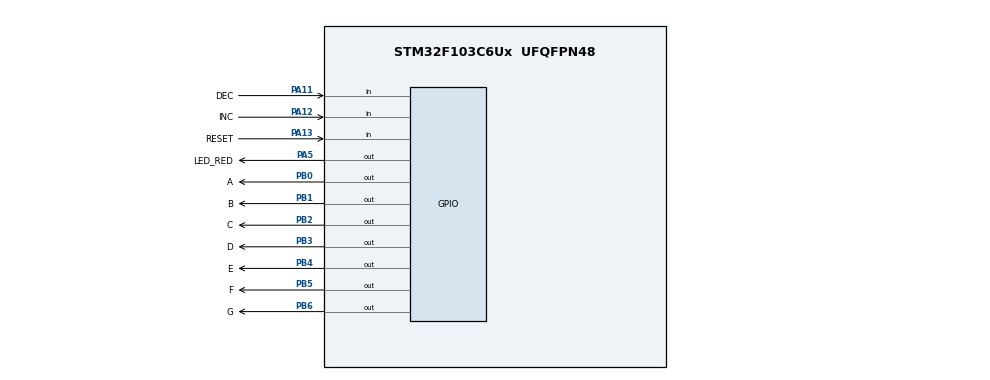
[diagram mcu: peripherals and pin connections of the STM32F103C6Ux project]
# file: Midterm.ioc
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Mcu.Family=STM32F1
Mcu.Name=STM32F103C6Ux
Mcu.Package=UFQFPN48
NVIC.PriorityGroup=NVIC_PRIORITYGROUP_4
NVIC.TIM2_IRQn=true\:0\:0\:false\:false\:true\:true\:true
PA11.GPIO_Label=DEC
PA11.GPIO_PuPd=GPIO_PULLUP
PA11.Signal=GPIO_Input
PA12.GPIO_Label=INC
PA12.GPIO_PuPd=GPIO_PULLUP
PA12.Signal=GPIO_Input
PA13.GPIO_Label=RESET
PA13.GPIO_PuPd=GPIO_PULLUP
PA13.Signal=GPIO_Input
PA5.GPIO_Label=LED_RED
PA5.Signal=GPIO_Output
PB0.GPIO_Label=A
PB0.Signal=GPIO_Output
PB1.GPIO_Label=B
PB1.Signal=GPIO_Output
PB2.GPIO_Label=C
PB2.Signal=GPIO_Output
PB3.GPIO_Label=D
PB3.Signal=GPIO_Output
PB4.GPIO_Label=E
PB4.Signal=GPIO_Output
PB5.GPIO_Label=F
PB5.Signal=GPIO_Output
PB6.GPIO_Label=G
PB6.Signal=GPIO_Output
ProjectManager.HeapSize=0x200
ProjectManager.StackSize=0x400
ProjectManager.TargetToolchain=STM32CubeIDE
RCC.APB1Freq_Value=8000000
RCC.APB2Freq_Value=8000000
TIM2.Period=9
TIM2.Prescaler=7999
VP_SYS_VS_ND.Mode=No_Debug
VP_TIM2_VS_ClockSourceINT.Mode=Internal
board=custom

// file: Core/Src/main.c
/* USER CODE BEGIN Header */
/**
  ******************************************************************************
  * @file           : main.c
  * @brief          : Main program body
  ******************************************************************************
  * @attention
  *
  * <h2><center>&copy; Copyright (c) 2022 STMicroelectronics.
  * All rights reserved.</center></h2>
  *
  * This software component is licensed by ST under BSD 3-Clause license,
  * the "License"; You may not use this file except in compliance with the
  * License. You may obtain a copy of the License at:
  *                        opensource.org/licenses/BSD-3-Clause
  *
  ******************************************************************************
  */
/* USER CODE END Header */
#include "fsm.h"
#include "main.h"
#include "global.h"
#include "software_timer.h"
#include "button.h"
#include "segment.h"

TIM_HandleTypeDef htim2;

void SystemClock_Config(void);
static void MX_GPIO_Init(void);
static void MX_TIM2_Init(void);

int main(void)
{

  /* MCU Configuration--------------------------------------------------------*/

  /* Reset of all peripherals, Initializes the Flash interface and the Systick. */
  HAL_Init();

  /* Configure the system clock */
  SystemClock_Config();

  /* Initialize all configured peripherals */
  MX_GPIO_Init();
  MX_TIM2_Init();
  /* USER CODE BEGIN 2 */
  HAL_TIM_Base_Start_IT(&htim2);
  setTimer(1);
  Blink(1);
  status=AUTO;
  /* USER CODE END 2 */

  /* Infinite loop */
  /* USER CODE BEGIN WHILE */
  while (1)
  {
	  if(timer1_flag==1){
		  fsm_simple_buttons_run ();
	  }
	  if(blink_flag==1)
	  {
		  HAL_GPIO_TogglePin(GPIOA, LED_RED_Pin);
		  Blink(100);
	  }

    /* USER CODE END WHILE */

  }
}

void SystemClock_Config(void)
{
  RCC_OscInitTypeDef RCC_OscInitStruct = {0};
  RCC_ClkInitTypeDef RCC_ClkInitStruct = {0};

  /** Initializes the RCC Oscillators according to the specified parameters
  * in the RCC_OscInitTypeDef structure.
  */
  RCC_OscInitStruct.OscillatorType = RCC_OSCILLATORTYPE_HSI;
  RCC_OscInitStruct.HSIState = RCC_HSI_ON;
  RCC_OscInitStruct.HSICalibrationValue = RCC_HSICALIBRATION_DEFAULT;
  RCC_OscInitStruct.PLL.PLLState = RCC_PLL_NONE;
  if (HAL_RCC_OscConfig(&RCC_OscInitStruct) != HAL_OK)
  {
    Error_Handler();
  }
  /** Initializes the CPU, AHB and APB buses clocks
  */
  RCC_ClkInitStruct.ClockType = RCC_CLOCKTYPE_HCLK|RCC_CLOCKTYPE_SYSCLK
                              |RCC_CLOCKTYPE_PCLK1|RCC_CLOCKTYPE_PCLK2;
  RCC_ClkInitStruct.SYSCLKSource = RCC_SYSCLKSOURCE_HSI;
  RCC_ClkInitStruct.AHBCLKDivider = RCC_SYSCLK_DIV1;
  RCC_ClkInitStruct.APB1CLKDivider = RCC_HCLK_DIV1;
  RCC_ClkInitStruct.APB2CLKDivider = RCC_HCLK_DIV1;

  if (HAL_RCC_ClockConfig(&RCC_ClkInitStruct, FLASH_LATENCY_0) != HAL_OK)
  {
    Error_Handler();
  }
}

static void MX_TIM2_Init(void)
{

  TIM_ClockConfigTypeDef sClockSourceConfig = {0};
  TIM_MasterConfigTypeDef sMasterConfig = {0};

  htim2.Instance = TIM2;
  htim2.Init.Prescaler = 7999;
  htim2.Init.CounterMode = TIM_COUNTERMODE_UP;
  htim2.Init.Period = 9;
  htim2.Init.ClockDivision = TIM_CLOCKDIVISION_DIV1;
  htim2.Init.AutoReloadPreload = TIM_AUTORELOAD_PRELOAD_DISABLE;
  if (HAL_TIM_Base_Init(&htim2) != HAL_OK)
  {
    Error_Handler();
  }
  sClockSourceConfig.ClockSource = TIM_CLOCKSOURCE_INTERNAL;
  if (HAL_TIM_ConfigClockSource(&htim2, &sClockSourceConfig) != HAL_OK)
  {
    Error_Handler();
  }
  sMasterConfig.MasterOutputTrigger = TIM_TRGO_RESET;
  sMasterConfig.MasterSlaveMode = TIM_MASTERSLAVEMODE_DISABLE;
  if (HAL_TIMEx_MasterConfigSynchronization(&htim2, &sMasterConfig) != HAL_OK)
  {
    Error_Handler();
  }

}

static void MX_GPIO_Init(void)
{
  GPIO_InitTypeDef GPIO_InitStruct = {0};

  /* GPIO Ports Clock Enable */
  __HAL_RCC_GPIOA_CLK_ENABLE();
  __HAL_RCC_GPIOB_CLK_ENABLE();

  /*Configure GPIO pin Output Level */
  HAL_GPIO_WritePin(LED_RED_GPIO_Port, LED_RED_Pin, GPIO_PIN_RESET);

  /*Configure GPIO pin Output Level */
  HAL_GPIO_WritePin(GPIOB, A_Pin|B_Pin|C_Pin|D_Pin
                          |E_Pin|F_Pin|G_Pin, GPIO_PIN_RESET);

  /*Configure GPIO pin : LED_RED_Pin */
  GPIO_InitStruct.Pin = LED_RED_Pin;
  GPIO_InitStruct.Mode = GPIO_MODE_OUTPUT_PP;
  GPIO_InitStruct.Pull = GPIO_NOPULL;
  GPIO_InitStruct.Speed = GPIO_SPEED_FREQ_LOW;
  HAL_GPIO_Init(LED_RED_GPIO_Port, &GPIO_InitStruct);

  /*Configure GPIO pins : A_Pin B_Pin C_Pin D_Pin
                           E_Pin F_Pin G_Pin */
  GPIO_InitStruct.Pin = A_Pin|B_Pin|C_Pin|D_Pin
                          |E_Pin|F_Pin|G_Pin;
  GPIO_InitStruct.Mode = GPIO_MODE_OUTPUT_PP;
  GPIO_InitStruct.Pull = GPIO_NOPULL;
  GPIO_InitStruct.Speed = GPIO_SPEED_FREQ_LOW;
  HAL_GPIO_Init(GPIOB, &GPIO_InitStruct);

  /*Configure GPIO pins : DEC_Pin INC_Pin RESET_Pin */
  GPIO_InitStruct.Pin = DEC_Pin|INC_Pin|RESET_Pin;
  GPIO_InitStruct.Mode = GPIO_MODE_INPUT;
  GPIO_InitStruct.Pull = GPIO_PULLUP;
  HAL_GPIO_Init(GPIOA, &GPIO_InitStruct);

}

/* USER CODE BEGIN 4 */
void HAL_TIM_PeriodElapsedCallback(TIM_HandleTypeDef *htim)
{
	timerRun();
	BlinkRun();
	getRESETInput();
	getINCInput();
	getDECInput();
}
/* USER CODE END 4 */

void Error_Handler(void)
{
  __disable_irq();
  while (1)
  {
  }
}

/************************ (C) COPYRIGHT STMicroelectronics *****END OF FILE****/
